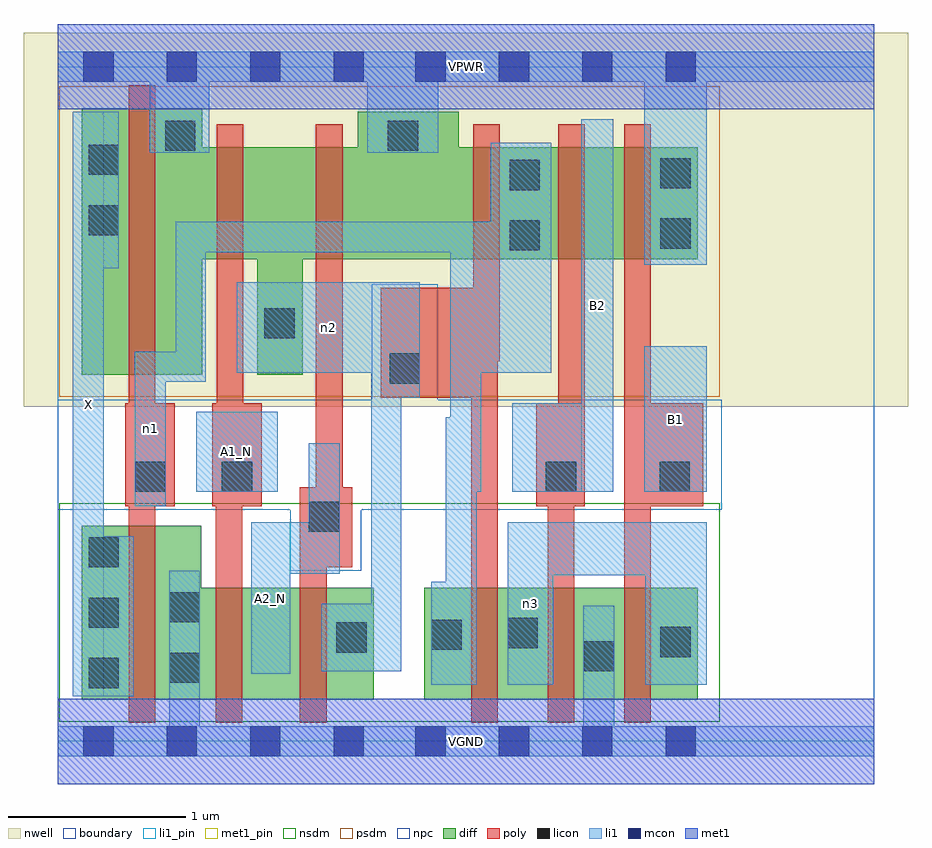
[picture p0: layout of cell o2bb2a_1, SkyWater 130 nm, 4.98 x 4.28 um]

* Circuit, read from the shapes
.subckt o2bb2a_1 A1_N A2_N B1 B2 VGND VPWR X n1 n2 n3
XM1 VGND n1 X VSUBS sky130_fd_pr__nfet_01v8 w=0.98 l=0.15
XM2 n4 A1_N VGND VSUBS sky130_fd_pr__nfet_01v8 w=0.63 l=0.15
XM3 n2 A2_N n4 VSUBS sky130_fd_pr__nfet_01v8 w=0.63 l=0.15
XM4 n3 n2 n1 VSUBS sky130_fd_pr__nfet_01v8 w=0.63 l=0.15
XM5 VGND B2 n3 VSUBS sky130_fd_pr__nfet_01v8 w=0.63 l=0.15
XM6 n3 B1 VGND VSUBS sky130_fd_pr__nfet_01v8 w=0.63 l=0.15
XM7 VPWR n1 X n5 sky130_fd_pr__pfet_01v8 w=1.5 l=0.15
XM8 n2 A1_N VPWR n5 sky130_fd_pr__pfet_01v8 w=0.63 l=0.15
XM9 VPWR A2_N n2 n5 sky130_fd_pr__pfet_01v8 w=0.63 l=0.15
XM10 n1 n2 VPWR n5 sky130_fd_pr__pfet_01v8 w=0.63 l=0.15
XM11 n6 B2 n1 n5 sky130_fd_pr__pfet_01v8 w=0.63 l=0.15
XM12 VPWR B1 n6 n5 sky130_fd_pr__pfet_01v8 w=0.63 l=0.15
.ends

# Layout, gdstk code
import gdstk
lib = gdstk.Library(unit=1e-6, precision=1e-09)
def R(c, l, rs):  # rectangles x0, y0, x1, y1
    for r in rs: c.add(gdstk.rectangle(r[:2], r[2:], *l))
def A(c, l, x, y, w, h, nx, ny, dx, dy):  # array of equal rectangles
    R(c, l, [(x+i*dx, y+j*dy, x+i*dx+w, y+j*dy+h) for i in range(nx) for j in range(ny)])
nwell = (64, 20)
diff = (65, 20)
poly = (66, 20)
licon = (66, 44)
li1_pin = (67, 16)
li1 = (67, 20)
mcon = (67, 44)
met1_pin = (68, 16)
met1 = (68, 20)
nsdm = (93, 44)
psdm = (94, 20)
npc = (95, 20)
boundary = (235, 4)

o2bb2a_1 = lib.new_cell('o2bb2a_1')
R(o2bb2a_1, nwell, [(-0.19,1.885,4.79,3.99), (0,1.885,4.6,3.99)])
R(o2bb2a_1, diff, [(0.135,0.235,1.78,0.865), (0.135,0.235,0.81,1.215), (2.065,0.235,3.605,0.865), (0.135,2.065,0.815,3.565), (1.125,2.065,1.38,3.345), (0.135,2.715,3.605,3.345), (1.69,2.715,2.26,3.545)])
R(o2bb2a_1, poly, [(0.4,0.105,0.55,3.695), (0.89,0.105,1.04,1.905), (1.365,0.105,1.515,1.43), (2.33,0.105,2.48,2.555), (2.34,0.105,2.48,3.475), (2.76,0.105,2.91,1.905), (3.19,0.105,3.34,3.475), (1.365,0.98,1.66,1.43), (0.38,1.325,0.66,1.905), (0.87,1.325,1.15,1.905), (0.895,1.325,1.045,3.475), (2.695,1.325,2.97,1.905), (2.82,1.325,2.97,3.475), (3.19,1.325,3.635,1.905), (1.455,1.43,1.605,3.475), (1.82,1.935,2.48,2.555), (2.34,2.14,2.49,3.475)])
A(o2bb2a_1, licon, 0.175, 0.3, 0.17, 0.17, 1, 3, 0, 0.34)
R(o2bb2a_1, licon, [(0.63,0.33,0.8,0.5), (2.965,0.395,3.135,0.565), (3.395,0.475,3.565,0.645), (1.57,0.5,1.74,0.67), (2.105,0.515,2.275,0.685), (2.535,0.525,2.705,0.695), (0.63,0.67,0.8,0.84), (1.415,1.18,1.585,1.35), (0.435,1.405,0.605,1.575), (0.925,1.405,1.095,1.575), (2.75,1.405,2.92,1.575), (3.39,1.405,3.56,1.575), (1.87,2.015,2.04,2.185), (1.165,2.27,1.335,2.44), (2.545,2.765,2.715,2.935), (3.395,2.775,3.565,2.945), (0.175,2.85,0.345,3.02), (2.545,3.105,2.715,3.275), (3.395,3.115,3.565,3.285), (0.175,3.19,0.345,3.36), (0.605,3.325,0.775,3.495), (1.86,3.325,2.03,3.495)])
R(o2bb2a_1, li1_pin, [(0.085,0.255,0.26,3.545), (1.09,0.38,1.31,1.235), (0.78,1.405,1.24,1.855), (2.95,1.405,3.13,3.505), (3.305,1.405,3.655,2.225)])
R(o2bb2a_1, li1, [(0,-0.085,4.6,0.085), (0.63,-0.085,0.8,0.96), (2.96,-0.085,3.135,0.765), (0.085,0.255,0.26,3.545), (0.085,0.255,0.43,1.155), (2.105,0.32,2.36,0.9), (2.185,0.32,2.36,1.825), (2.535,0.32,2.79,1.235), (3.31,0.32,3.655,1.235), (1.09,0.38,1.31,1.235), (1.485,0.395,1.935,0.775), (1.765,0.395,1.935,2.585), (2.535,0.935,3.655,1.235), (1.09,0.945,1.59,1.235), (1.415,0.945,1.59,1.68), (0.435,1.325,0.61,2.195), (0.78,1.405,1.24,1.855), (2.21,1.405,2.385,2.925), (2.56,1.405,3.13,1.905), (2.95,1.405,3.13,3.505), (3.305,1.405,3.655,2.225), (1.765,1.935,2.04,2.585), (0.435,2.025,0.835,2.195), (0.665,2.025,0.835,2.925), (1.01,2.075,2.04,2.585), (2.21,2.075,2.78,2.925), (2.44,2.075,2.78,3.37), (0.085,2.665,0.345,3.545), (3.305,2.685,3.655,3.885), (0.665,2.755,2.78,2.925), (0.52,3.315,0.855,3.885), (1.745,3.315,2.145,3.885), (0,3.715,4.6,3.885)])
A(o2bb2a_1, mcon, 0.145, -0.085, 0.17, 0.17, 4, 2, 0.47, 3.8)
A(o2bb2a_1, mcon, 2.015, -0.085, 0.17, 0.17, 4, 2, 0.47, 3.8)
R(o2bb2a_1, met1_pin, [(0,-0.24,4.6,0.24), (0,3.56,4.6,4.04)])
R(o2bb2a_1, met1, [(0,-0.24,4.6,0.24), (0,3.56,4.6,4.04)])
R(o2bb2a_1, nsdm, [(0.01,0.11,3.73,1.34)])
R(o2bb2a_1, psdm, [(0.01,1.94,3.73,3.69)])
R(o2bb2a_1, npc, [(1.31,0.96,1.71,1.925), (0,1.305,3.74,1.925), (1.77,1.305,2.14,2.575)])
R(o2bb2a_1, boundary, [(0,0,4.6,3.8)])
o2bb2a_1.add(gdstk.Label('A1_N', (1.01,1.63), layer=67, texttype=5))
o2bb2a_1.add(gdstk.Label('A2_N', (1.2,0.807), layer=67, texttype=5))
o2bb2a_1.add(gdstk.Label('B1', (3.48,1.815), layer=67, texttype=5))
o2bb2a_1.add(gdstk.Label('B2', (3.04,2.455), layer=67, texttype=5))
o2bb2a_1.add(gdstk.Label('X', (0.172,1.9), layer=67, texttype=5))
o2bb2a_1.add(gdstk.Label('n3', (2.662,0.777), layer=67, texttype=5))
o2bb2a_1.add(gdstk.Label('n2', (1.525,2.33), layer=67, texttype=5))
o2bb2a_1.add(gdstk.Label('n1', (0.522,1.76), layer=67, texttype=5))
o2bb2a_1.add(gdstk.Label('VPWR', (2.3,3.8), layer=68, texttype=5))
o2bb2a_1.add(gdstk.Label('VGND', (2.3,0), layer=68, texttype=5))
o2bb2a_1.add(gdstk.Label('A1_N', (1.01,1.63), layer=67, texttype=16))
o2bb2a_1.add(gdstk.Label('A2_N', (1.2,0.807), layer=67, texttype=16))
o2bb2a_1.add(gdstk.Label('B1', (3.48,1.815), layer=67, texttype=16))
o2bb2a_1.add(gdstk.Label('B2', (3.04,2.455), layer=67, texttype=16))
o2bb2a_1.add(gdstk.Label('X', (0.172,1.9), layer=67, texttype=16))
o2bb2a_1.add(gdstk.Label('VPWR', (2.3,3.8), layer=68, texttype=16))
o2bb2a_1.add(gdstk.Label('VGND', (2.3,0), layer=68, texttype=16))

lib.write_gds('o2bb2a_1.gds')
